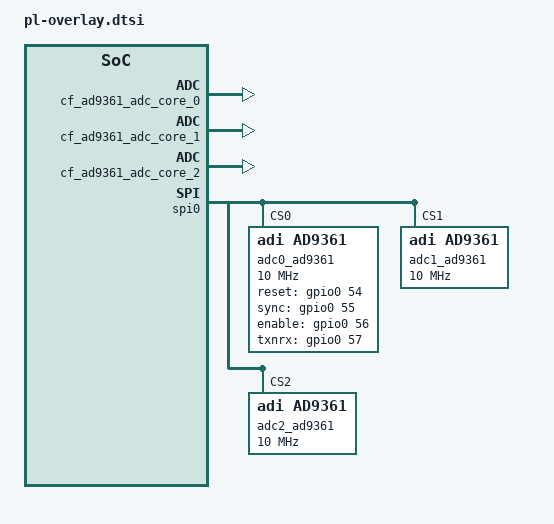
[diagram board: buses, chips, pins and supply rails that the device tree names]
// Device-tree additions for the passive-radar node on ADI Kuiper Linux (Zynq-7000), include from the board .dts.
// Modelled on ADI's FMCOMMS5 tree (two AD9361) extended to three; check against the ADI kernel you build
// (adi_kuiper / linux "main" branch, Documentation/devicetree/bindings/iio/adc/adi,ad9361.yaml).
// NOT BOOTED YET: written together with firmware/vivado/build.tcl (addresses, IRQs and EMIO numbers match it).
//
// Boot arguments: uio_pdrv_genirq.of_id=generic-uio   (so the generic-uio nodes below bind to UIO)
// Modules: u-dma-buf (github.com/ikwzm/udmabuf) for the stream buffer.

/ {
    clocks {
        ad9361_clkin: clock@0 {                 // 40 MHz TCXO on Board B, shared by the three chips
            compatible = "fixed-clock";
            #clock-cells = <0>;
            clock-frequency = <40000000>;
            clock-output-names = "ad9361_ext_refclk";
        };
    };

    pcl_core: pcl-core@43c00000 {               // firmware/hdl/pcl_core.v -> /dev/uio0 (pcl_noded)
        compatible = "generic-uio";
        reg = <0x43c00000 0x1000>;
        interrupt-parent = <&intc>;
        interrupts = <0 29 4>;                  // IRQ_F2P[0] = md_irq
    };

    pcl_dma: pcl-dma@40400000 {                 // stream AXI DMA (S2MM SG) -> /dev/uio1 (pcl_streamd)
        compatible = "generic-uio";
        reg = <0x40400000 0x10000>;
        interrupt-parent = <&intc>;
        interrupts = <0 30 4>;                  // IRQ_F2P[1]
    };

    udmabuf0 {                                  // 4096 descriptors + 4096 x 1536 B packet buffers
        compatible = "ikwzm,u-dma-buf";
        device-name = "udmabuf0";
        size = <0x00700000>;                    // 7 MB
    };
};

&fpga_axi {
    rx_dma_dummy: dma-controller@7c400000 {     // the ADI converter driver wants a DMA channel per core; the
        status = "disabled";                    // stream does not use it (pcl_core has its own path). If the
    };                                          // cf_axi_adc driver refuses to probe without one, add an
                                                // axi_dmac per core in build.tcl as ADI's FMCOMMS5 does.
    cf_ad9361_adc_core_0: cf-ad9361-lpc@79020000 {
        compatible = "adi,axi-ad9361-6.00.a";
        reg = <0x79020000 0x6000>;
        spibus-connected = <&adc0_ad9361>;
    };
    cf_ad9361_adc_core_1: cf-ad9361-B@79040000 {
        compatible = "adi,axi-ad9361-6.00.a";
        reg = <0x79040000 0x6000>;
        spibus-connected = <&adc1_ad9361>;
    };
    cf_ad9361_adc_core_2: cf-ad9361-C@79060000 {
        compatible = "adi,axi-ad9361-6.00.a";
        reg = <0x79060000 0x6000>;
        spibus-connected = <&adc2_ad9361>;
    };
};

&spi0 {
    status = "okay";
    #address-cells = <1>;
    #size-cells = <0>;
    num-cs = <3>;

    adc0_ad9361: ad9361-phy@0 {
        compatible = "adi,ad9361";
        reg = <0>;
        spi-cpha;
        spi-max-frequency = <10000000>;
        clocks = <&ad9361_clkin 0>;
        clock-names = "ad9361_ext_refclk";
        clock-output-names = "rx_sampl_clk", "tx_sampl_clk";
        #clock-cells = <1>;
        reset-gpios = <&gpio0 54 0>;            // EMIO o[0] AD_RESETB (shared)
        sync-gpios = <&gpio0 55 0>;             // EMIO o[1] AD_SYNC_IN (multi-chip sync, shared)
        enable-gpios = <&gpio0 56 0>;           // EMIO o[2]
        txnrx-gpios = <&gpio0 57 0>;            // EMIO o[3]
        adi,digital-interface-tune-skip-mode = <0>;
        adi,lvds-mode-enable;
        adi,lvds-rx-onchip-termination-enable;
        adi,2rx-2tx-mode-enable;
        adi,frequency-division-duplex-mode-enable;
        adi,rx-rf-port-input-select = <0>;      // RXxA inputs (Board B)
        adi,rx-synthesizer-frequency-hz = /bits/ 64 <626000000>;
        adi,gc-rx1-mode = <0>;                  // manual gain (pcl_noded sets it)
        adi,gc-rx2-mode = <0>;
        adi,xo-disable-use-ext-refclk-enable;   // each chip runs its own (internal) LO from the shared 40 MHz
    };
    adc1_ad9361: ad9361-phy-B@1 {
        compatible = "adi,ad9361";
        reg = <1>;
        spi-cpha;
        spi-max-frequency = <10000000>;
        clocks = <&ad9361_clkin 0>;
        clock-names = "ad9361_ext_refclk";
        clock-output-names = "rx_sampl_clk_B", "tx_sampl_clk_B";
        #clock-cells = <1>;
        adi,lvds-mode-enable;
        adi,lvds-rx-onchip-termination-enable;
        adi,2rx-2tx-mode-enable;
        adi,frequency-division-duplex-mode-enable;
        adi,rx-rf-port-input-select = <0>;
        adi,gc-rx1-mode = <0>;
        adi,gc-rx2-mode = <0>;
        adi,xo-disable-use-ext-refclk-enable;
    };
    adc2_ad9361: ad9361-phy-C@2 {
        compatible = "adi,ad9361";
        reg = <2>;
        spi-cpha;
        spi-max-frequency = <10000000>;
        clocks = <&ad9361_clkin 0>;
        clock-names = "ad9361_ext_refclk";
        clock-output-names = "rx_sampl_clk_C", "tx_sampl_clk_C";
        #clock-cells = <1>;
        adi,lvds-mode-enable;
        adi,lvds-rx-onchip-termination-enable;
        adi,2rx-2tx-mode-enable;
        adi,frequency-division-duplex-mode-enable;
        adi,rx-rf-port-input-select = <0>;
        adi,gc-rx1-mode = <0>;
        adi,gc-rx2-mode = <0>;
        adi,xo-disable-use-ext-refclk-enable;
    };
};
